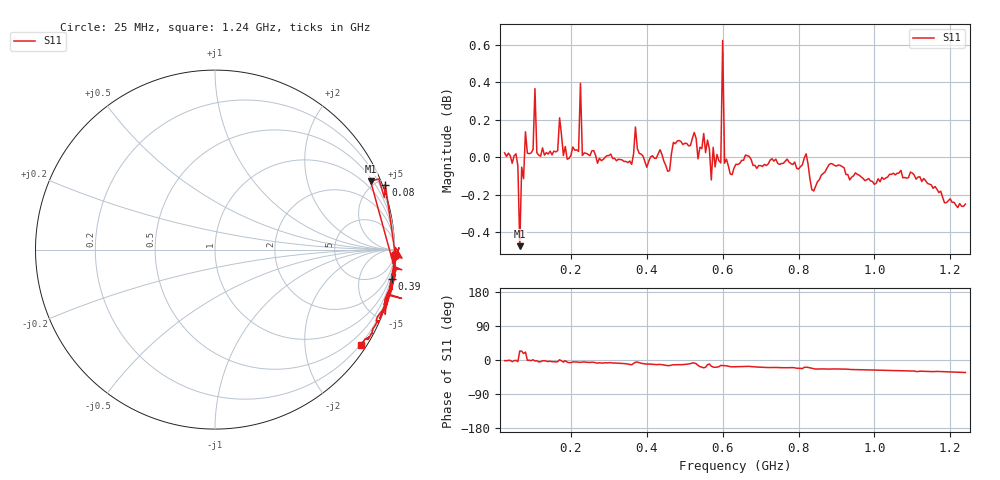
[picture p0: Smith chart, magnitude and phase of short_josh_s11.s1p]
!Created with skrf (http://scikit-rf.org).
# Hz S RI R 50.0
!freq ReS11 ImS11
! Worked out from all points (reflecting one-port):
!   244 points, 25 MHz to 1.24 GHz, reference 50 ohm
!   lowest |S11| = -0.5 dB at 65 MHz (marker M1), VSWR 36.69, Z = 31.8 + j234 ohm
!   phase of S11 starts at -2 deg and turns -31 deg over the sweep
!   S11 on the Smith chart (normalised r, x): 25 MHz: -7, -71; 80 MHz: -0.24, +5.42; 390 MHz: -0, -12; 1.24 GHz: 0.18, -3.37
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2.5e7  1.002 -0.0278
6e7  0.992 -0.073
6.5e7  0.8671 0.3804
7e7  0.9126 0.3938
7.5e7  0.9433 0.2902
8e7  0.9491 0.3618
8.5e7  1.002 -0.0144
1.6e8  0.9995 -0.0875
1.7e8  1.024 0.0106
1.8e8  0.9967 -0.0935
1.85e8  1.006 -0.0341
1.95e8  0.9917 -0.1232
3.3e8  0.9875 -0.1483
3.6e8  0.9723 -0.2146
3.75e8  1.001 -0.0944
3.9e8  0.9868 -0.1659
4.85e8  0.9865 -0.2181
5.25e8  1.006 -0.1376
5.5e8  0.9486 -0.3603
5.65e8  0.9879 -0.1842
5.75e8  0.9529 -0.323
6e8  1.039 -0.2718
6.05e8  0.9636 -0.2534
6.35e8  0.9493 -0.3006
7.85e8  0.9353 -0.3412
9.4e8  0.8943 -0.4196
1.09e9  0.866 -0.4748
1.24e9  0.815 -0.5291
